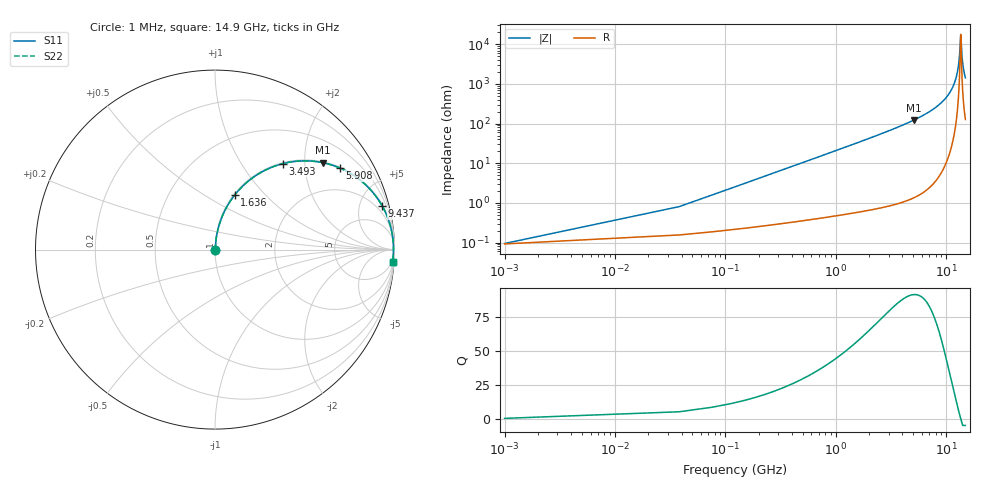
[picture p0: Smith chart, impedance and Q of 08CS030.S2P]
! Coilcraft 0805CS-030 Chip Inductor
! 11 June 2002
# MHZ S MA R 50
!Freq  MagS11  AngS11  MagS21  AngS21  MagS12  AngS12  MagS22  AngS22
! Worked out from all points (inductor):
!   403 points, 1 MHz to 14.9 GHz, reference 50 ohm
!   read as one part in series: L = 3.3 nH near 75.3 MHz
!   highest Q = 91.5 at 5.091 GHz (marker M1), where L = 3.85 nH
!   self-resonance near 13.49 GHz
!   S11 on the Smith chart (normalised r, x): 1 MHz: 1.00, +0.00; 1.636 GHz: 1.01, +0.69; 3.493 GHz: 1.02, +1.55; 5.908 GHz: 1.03, +3.03; 9.437 GHz: 1.15, +7.63; 14.9 GHz: 4, -29
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1  0.0009442 12.7  0.9991 -0.0  0.9991 -0.0  0.0009442 12.7
112.45  0.02336 83.5  0.9976 -1.3  0.9976 -1.3  0.02336 83.5
186.75  0.03868 84.1  0.9968 -2.2  0.9968 -2.2  0.03868 84.1
335.35  0.06926 83.5  0.9946 -4.0  0.9946 -4.0  0.06926 83.5
818.3  0.1672 78.9  0.9817 -9.6  0.9817 -9.6  0.1672 78.9
1635.6  0.3238 70.1  0.9406 -18.9  0.9406 -18.9  0.3238 70.1
2490.05  0.4687 61.3  0.8769 -27.9  0.8769 -27.9  0.4687 61.3
3493.1  0.6096 51.8  0.7855 -37.6  0.7855 -37.6  0.6096 51.8
4979.1  0.7627 39.7  0.6385 -49.7  0.6385 -49.7  0.7627 39.7
5090.55  0.7718 38.9  0.6275 -50.5  0.6275 -50.5  0.7718 38.9
5907.85  0.8302 33.2  0.5483 -56.1  0.5483 -56.1  0.8302 33.2
7468.15  0.908 24.0  0.4075 -65.2  0.4075 -65.2  0.908 24.0
9437.1  0.9628 14.6  0.2523 -74.3  0.2523 -74.3  0.9628 14.6
9957.2  0.9717 12.4  0.2154 -76.3  0.2154 -76.3  0.9717 12.4
11443.2  0.988 6.8  0.1182 -80.8  0.1182 -80.8  0.988 6.8
12446.25  0.993 3.4  0.05889 -81.5  0.05889 -81.5  0.993 3.4
13040.65  0.9942 1.5  0.02615 -76.6  0.02615 -76.6  0.9942 1.5
13523.6  0.9944 -0.0  0.005598 2.2  0.005598 2.2  0.9944 -0.0
13820.8  0.9942 -0.9  0.01665 69.1  0.01665 69.1  0.9942 -0.9
14043.7  0.9938 -1.5  0.02759 76.3  0.02759 76.3  0.9938 -1.5
14415.2  0.993 -2.6  0.04586 80.0  0.04586 80.0  0.993 -2.6
14900  0.9915 -3.9  0.06915 80.9  0.06915 80.9  0.9915 -3.9
